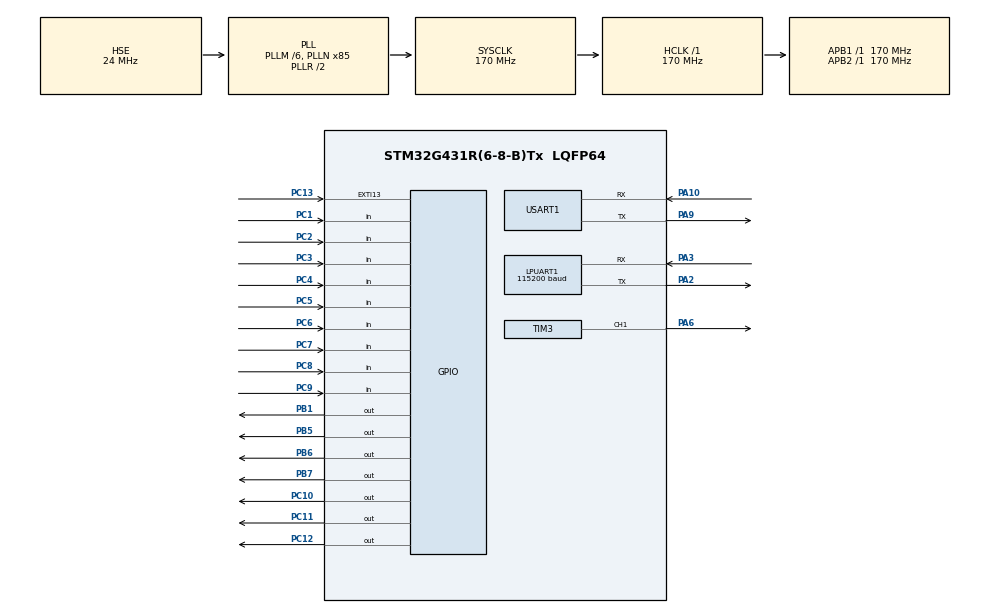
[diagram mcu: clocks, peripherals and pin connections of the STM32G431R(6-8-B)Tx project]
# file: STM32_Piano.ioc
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LPUART1.BaudRate=115200
Mcu.Family=STM32G4
Mcu.Name=STM32G431R(6-8-B)Tx
Mcu.Package=LQFP64
NVIC.EXTI15_10_IRQn=true\:1\:0\:true\:false\:true\:true\:true\:true
NVIC.LPUART1_IRQn=true\:1\:0\:true\:false\:true\:true\:true\:true
NVIC.PriorityGroup=NVIC_PRIORITYGROUP_4
NVIC.TIM3_IRQn=true\:1\:0\:true\:false\:true\:true\:true\:true
PA10.Mode=Asynchronous
PA10.Signal=USART1_RX
PA13.Mode=Serial_Wire
PA13.Signal=SYS_JTMS-SWDIO
PA14.Mode=Serial_Wire
PA14.Signal=SYS_JTCK-SWCLK
PA2.Mode=Asynchronous
PA2.Signal=LPUART1_TX
PA3.Mode=Asynchronous
PA3.Signal=LPUART1_RX
PA6.Signal=S_TIM3_CH1
PA9.Mode=Asynchronous
PA9.Signal=USART1_TX
PB1.Signal=GPIO_Output
PB5.Signal=GPIO_Output
PB6.Signal=GPIO_Output
PB7.Signal=GPIO_Output
PC1.GPIO_Mode=GPIO_MODE_INPUT
PC1.GPIO_PuPd=GPIO_PULLUP
PC1.Signal=GPIO_Input
PC10.PinState=GPIO_PIN_SET
PC10.Signal=GPIO_Output
PC11.PinState=GPIO_PIN_SET
PC11.Signal=GPIO_Output
PC12.PinState=GPIO_PIN_SET
PC12.Signal=GPIO_Output
PC13.GPIO_ModeDefaultEXTI=GPIO_MODE_IT_FALLING
PC13.Signal=GPXTI13
PC2.GPIO_Mode=GPIO_MODE_INPUT
PC2.GPIO_PuPd=GPIO_PULLUP
PC2.Signal=GPIO_Input
PC3.GPIO_Mode=GPIO_MODE_INPUT
PC3.GPIO_PuPd=GPIO_PULLUP
PC3.Signal=GPIO_Input
PC4.GPIO_Mode=GPIO_MODE_INPUT
PC4.GPIO_PuPd=GPIO_PULLUP
PC4.Signal=GPIO_Input
PC5.GPIO_Mode=GPIO_MODE_INPUT
PC5.GPIO_PuPd=GPIO_PULLUP
PC5.Signal=GPIO_Input
PC6.GPIO_Mode=GPIO_MODE_INPUT
PC6.GPIO_PuPd=GPIO_PULLUP
PC6.Signal=GPIO_Input
PC7.GPIO_Mode=GPIO_MODE_INPUT
PC7.GPIO_PuPd=GPIO_PULLUP
PC7.Signal=GPIO_Input
PC8.GPIO_Mode=GPIO_MODE_INPUT
PC8.GPIO_PuPd=GPIO_PULLUP
PC8.Signal=GPIO_Input
PC9.GPIO_PuPd=GPIO_PULLDOWN
PC9.Signal=GPIO_Input
PF0-OSC_IN.Mode=HSE-External-Oscillator
PF0-OSC_IN.Signal=RCC_OSC_IN
PF1-OSC_OUT.Mode=HSE-External-Oscillator
PF1-OSC_OUT.Signal=RCC_OSC_OUT
ProjectManager.HeapSize=0x200
ProjectManager.StackSize=0x400
ProjectManager.TargetToolchain=STM32CubeIDE
RCC.ADC12Freq_Value=170000000
RCC.AHBFreq_Value=170000000
RCC.APB1Freq_Value=170000000
RCC.APB1TimFreq_Value=170000000
RCC.APB2Freq_Value=170000000
RCC.APB2TimFreq_Value=170000000
RCC.CortexFreq_Value=170000000
RCC.EXTERNAL_CLOCK_VALUE=12288000
RCC.HCLKFreq_Value=170000000
RCC.HSE_VALUE=24000000
RCC.HSI48_VALUE=48000000
RCC.HSI_VALUE=16000000
RCC.LSE_VALUE=32768
RCC.PLLM=RCC_PLLM_DIV6
RCC.PLLN=85
RCC.PLLSourceVirtual=RCC_PLLSOURCE_HSE
RCC.SYSCLKFreq_VALUE=170000000
RCC.SYSCLKSource=RCC_SYSCLKSOURCE_PLLCLK
RCC.USBFreq_Value=170000000
RCC.VCOOutputFreq_Value=340000000
SH.S_TIM3_CH1.0=TIM3_CH1,PWM Generation1 CH1
TIM3.AutoReloadPreload=TIM_AUTORELOAD_PRELOAD_ENABLE
TIM3.Channel-PWM\ Generation1\ CH1=TIM_CHANNEL_1
TIM3.OCPolarity_1=TIM_OCPOLARITY_HIGH
TIM3.PeriodNoDither=4999
TIM3.Prescaler=1699
TIM3.PulseNoDither_1=5000
USART1.VirtualMode-Asynchronous=VM_ASYNC
VP_TIM3_VS_ClockSourceINT.Mode=Internal
board=custom

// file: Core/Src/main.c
/* USER CODE BEGIN Header */
/**
  ******************************************************************************
  * @file           : main.c
  * @brief          : Main program body
  ******************************************************************************
  * @attention
  *
  * Copyright (c) 2022 STMicroelectronics.
  * All rights reserved.
  *
  * This software is licensed under terms that can be found in the LICENSE file
  * in the root directory of this software component.
  * If no LICENSE file comes with this software, it is provided AS-IS.
  *
  ******************************************************************************
  */
/* USER CODE END Header */
#include "main.h"

UART_HandleTypeDef hlpuart1;
UART_HandleTypeDef huart1;

TIM_HandleTypeDef htim3;

/* USER CODE BEGIN PV */
const unsigned int music1[3][97] = {
        {600, 300, 300, 600, 600, 600, 300, 300, 600, 600, 600, 600, 300, 300, 600, 600, 300, 300, 900, 600, 600, 300, 300, 600, 600, 600, 300, 300, 600, 600, 600, 300, 300, 600, 600, 600, 300, 300, 600, 900, 300, 600, 600, 600, 300, 900, 900, 300, 600, 600, 600, 300, 300, 900, 900, 300, 600, 600, 600, 300, 300, 900, 900, 300, 600, 600, 600, 300, 300, 900, 600, 900, 600, 600, 900, 600, 600, 600, 600, 600, 600, 600, 900, 600, 900, 600, 600, 900, 600, 600, 600, 600, 600, 600, 300, 300, 900},
        {2,   2,   2,   2,   2,   2,   3,   2,   2,   2,   2,   2,   2,   2,   2,   1,   2,   2,   2,   2,   2,   2,   3,   2,   2,   2,   2,   2,   2,   2,   2,   2,   2,   2,   2,   2,   2,   2,   3,   3,   3,   2,   3,   2,   2,   2,   2,   2,   2,   2,   2,   2,   2,   2,   2,   2,   2,   2,   2,   2,   2,   2,   2,   2,   2,   2,   2,   2,   2,   2,   3,   3,   1,   2,   2,   1,   2,   2,   2,   2,   2,   2,   2,   3,   3,   1,   2,   2,   1,   2,   2,   2,   2,   2,   2,   2,   2},
        {1,   1,   3,   5,   5,   6,   1,   6,   5,   5,   3,   3,   5,   3,   1,   6,   1,   2,   5,   6,   6,   6,   1,   5,   3,   2,   3,   2,   1,   2,   5,   5,   4,   5,   6,   6,   7,   6,   5,   1,   1,   6,   1,   5,   6,   5,   6,   6,   5,   3,   2,   2,   3,   5,   1,   1,   1,   3,   2,   3,   2,   1,   6,   6,   5,   3,   2,   3,   2,   1,   1,   1,   0,   6,   6,   0,   5,   5,   6,   5,   2,   3,   5,   1,   1,   0,   6,   6,   0,   5,   5,   6,   5,   2,   3,   2,   1}
},
        music2[3][66] = {
        {405, 203, 0, 405, 405, 203, 405, 203, 203, 203, 203, 203, 203, 810, 608, 203, 203, 203, 203, 203, 405, 203, 405, 405, 203, 810, 203, 203, 405, 203, 405, 405, 203, 203, 810, 203, 405, 203, 405, 405, 203, 405, 203, 203, 203, 203, 203, 203, 203, 608, 405, 203, 203, 203, 608, 203, 405, 203, 405, 203, 405, 405, 405, 405, 405, 1013},
        {2,   2,   2, 2,   2,   2,   2,   2,   2,   2,   1,   1,   2,   2,   1,   1,   2,   2,   2,   2,   2,   2,   2,   2,   1,   1,   1,   2,   2,   2,   2,   1,   2,   2,   2,   1,   2,   2,   2,   2,   2,   2,   2,   2,   2,   2,   1,   1,   2,   2,   1,   2,   2,   2,   2,   1,   2,   2,   2,   1,   2,   2,   2,   2,   2,   2},
        {3,   3,   2, 5,   2,   2,   2,   2,   3,   2,   7,   7,   1,   1,   0,   7,   3,   5,   5,   7,   6,   5,   3,   1,   7,   7,   0,   2,   2,   3,   1,   7,   2,   2,   2,   0,   3,   3,   2,   5,   2,   2,   2,   2,   3,   2,   7,   7,   1,   1,   0,   7,   7,   3,   3,   0,   4,   3,   4,   0,   7,   6,   5,   4,   3,   4}
},
        music3[3][86] = {
        {215, 215, 215, 215, 215, 215, 215, 215, 215, 215, 215, 215, 215, 215, 215, 215, 215, 215, 215, 215, 215, 215, 215, 215, 215, 215, 215, 215, 215, 215, 215, 215, 215, 215, 215, 215, 215, 215, 215, 215, 215, 215, 215, 215, 215, 215, 215, 215, 215, 215, 215, 429, 215, 215, 644, 644, 429, 215, 215, 429, 215, 215, 644, 644, 429, 215, 215, 429, 215, 215, 644, 1073, 644, 644, 644, 644, 644, 644, 644, 644, 644, 644, 644, 644, 644, 644},
        {2,   2,   2,   2,   2,   2,   2,   2,   2,   2,   2,   2,   2,   2,   2,   2,   2,   2,   2,   2,   2,   2,   2,   2,   2,   2,   2,   2,   2,   2,   2,   2,   2,   2,   2,   2,   2,   2,   2,   2,   2,   2,   3,   3,   2,   2,   2,   2,   2,   2,   2,   2,   2,   2,   2,   2,   1,   2,   2,   2,   2,   2,   2,   2,   1,   2,   2,   2,   2,   2,   2,   2,    2,   2,   2,   2,   2,   2,   2,   2,   2,   2,   2,   2,   2,   2},
        {1,   4,   5,   5,   6,   6,   6,   6,   6,   6,   6,   6,   5,   5,   5,   5,   5,   5,   5,   5,   4,   4,   4,   4,   4,   4,   4,   4,   1,   1,   1,   1,   1,   4,   5,   5,   6,   6,   6,   6,   6,   6,   1,   1,   6,   6,   6,   6,   6,   5,   4,   5,   6,   6,   6,   6,   0,   5,   6,   5,   4,   4,   4,   4,   0,   5,   6,   5,   4,   4,   4,   4,    6,   6,   6,   6,   5,   1,   6,   6,   5,   5,   6,   6,   6,   6}
},
        pwm_freq[3][7] = {
        {131, 147, 165, 175, 196, 220, 247},
        {262, 294, 330, 349, 392, 440, 494},
        {523, 587, 659, 698, 784, 880, 988}
};
const unsigned char midi_freq[3][7] = {
        {48, 50, 52, 53, 55, 57, 59},
        {60, 62, 64, 65, 67, 69, 71},
        {72, 74, 76, 77, 79, 81, 83}
},
        length[3] = {97, 66, 86},
        tube_data[5] = {0xc0, 0xf9, 0xa4, 0xb0, 0x99};

const unsigned int *music[3][3] = {
        {music1[0], music1[1], music1[2]},
        {music2[0], music2[1], music2[2]},
        {music3[0], music3[1], music3[2]}
};

unsigned char midi_event[3] = {0x90, 60, 0x4f},
        buffer1, buffer2[2];
unsigned int pitch = 0, tone = 0, mode = 0, remote_mode = 0, music_type = 0, music_position = 0, music_start = 0, receive = 0;
unsigned int duration = 0;

/* USER CODE END PV */

void SystemClock_Config(void);
static void MX_GPIO_Init(void);
static void MX_LPUART1_UART_Init(void);
static void MX_TIM3_Init(void);
static void MX_USART1_UART_Init(void);
/* USER CODE BEGIN PFP */

void direct_play();

void direct_broadcast();

void remoteControl();

void change_LED();

void play_pwm();

void play_midi() ;

void choose_music(int n);

void broadcast_music();

/* USER CODE END PFP */

int main(void)
{

  /* MCU Configuration--------------------------------------------------------*/

  /* Reset of all peripherals, Initializes the Flash interface and the Systick. */
  HAL_Init();

  /* Configure the system clock */
  SystemClock_Config();

  /* Initialize all configured peripherals */
  MX_GPIO_Init();
  MX_LPUART1_UART_Init();
  MX_TIM3_Init();
  MX_USART1_UART_Init();
  /* USER CODE BEGIN 2 */
    HAL_TIM_Base_Start_IT(&htim3);//打开定时中断
  /* USER CODE END 2 */

  /* Infinite loop */
    while (1) {

    /* USER CODE BEGIN 3 */

        //弹奏
        if (mode == 1 || mode == 2) {
            direct_play();
        }

        //播放
        if (mode == 3 || mode == 4) {
            direct_broadcast();
        }

        //远程控制
        if (mode == 5) {
            remoteControl();
        }

    }
  /* USER CODE END 3 */
}

void SystemClock_Config(void)
{
  RCC_OscInitTypeDef RCC_OscInitStruct = {0};
  RCC_ClkInitTypeDef RCC_ClkInitStruct = {0};

  /** Configure the main internal regulator output voltage
  */
  HAL_PWREx_ControlVoltageScaling(PWR_REGULATOR_VOLTAGE_SCALE1_BOOST);

  /** Initializes the RCC Oscillators according to the specified parameters
  * in the RCC_OscInitTypeDef structure.
  */
  RCC_OscInitStruct.OscillatorType = RCC_OSCILLATORTYPE_HSE;
  RCC_OscInitStruct.HSEState = RCC_HSE_ON;
  RCC_OscInitStruct.PLL.PLLState = RCC_PLL_ON;
  RCC_OscInitStruct.PLL.PLLSource = RCC_PLLSOURCE_HSE;
  RCC_OscInitStruct.PLL.PLLM = RCC_PLLM_DIV6;
  RCC_OscInitStruct.PLL.PLLN = 85;
  RCC_OscInitStruct.PLL.PLLP = RCC_PLLP_DIV2;
  RCC_OscInitStruct.PLL.PLLQ = RCC_PLLQ_DIV2;
  RCC_OscInitStruct.PLL.PLLR = RCC_PLLR_DIV2;
  if (HAL_RCC_OscConfig(&RCC_OscInitStruct) != HAL_OK)
  {
    Error_Handler();
  }

  /** Initializes the CPU, AHB and APB buses clocks
  */
  RCC_ClkInitStruct.ClockType = RCC_CLOCKTYPE_HCLK|RCC_CLOCKTYPE_SYSCLK
                              |RCC_CLOCKTYPE_PCLK1|RCC_CLOCKTYPE_PCLK2;
  RCC_ClkInitStruct.SYSCLKSource = RCC_SYSCLKSOURCE_PLLCLK;
  RCC_ClkInitStruct.AHBCLKDivider = RCC_SYSCLK_DIV1;
  RCC_ClkInitStruct.APB1CLKDivider = RCC_HCLK_DIV1;
  RCC_ClkInitStruct.APB2CLKDivider = RCC_HCLK_DIV1;

  if (HAL_RCC_ClockConfig(&RCC_ClkInitStruct, FLASH_LATENCY_4) != HAL_OK)
  {
    Error_Handler();
  }
}

static void MX_LPUART1_UART_Init(void)
{

  hlpuart1.Instance = LPUART1;
  hlpuart1.Init.BaudRate = 115200;
  hlpuart1.Init.WordLength = UART_WORDLENGTH_8B;
  hlpuart1.Init.StopBits = UART_STOPBITS_1;
  hlpuart1.Init.Parity = UART_PARITY_NONE;
  hlpuart1.Init.Mode = UART_MODE_TX_RX;
  hlpuart1.Init.HwFlowCtl = UART_HWCONTROL_NONE;
  hlpuart1.Init.OneBitSampling = UART_ONE_BIT_SAMPLE_DISABLE;
  hlpuart1.Init.ClockPrescaler = UART_PRESCALER_DIV1;
  hlpuart1.AdvancedInit.AdvFeatureInit = UART_ADVFEATURE_NO_INIT;
  if (HAL_UART_Init(&hlpuart1) != HAL_OK)
  {
    Error_Handler();
  }
  if (HAL_UARTEx_SetTxFifoThreshold(&hlpuart1, UART_TXFIFO_THRESHOLD_1_8) != HAL_OK)
  {
    Error_Handler();
  }
  if (HAL_UARTEx_SetRxFifoThreshold(&hlpuart1, UART_RXFIFO_THRESHOLD_1_8) != HAL_OK)
  {
    Error_Handler();
  }
  if (HAL_UARTEx_DisableFifoMode(&hlpuart1) != HAL_OK)
  {
    Error_Handler();
  }

}

static void MX_USART1_UART_Init(void)
{

  huart1.Instance = USART1;
  huart1.Init.BaudRate = 115200;
  huart1.Init.WordLength = UART_WORDLENGTH_8B;
  huart1.Init.StopBits = UART_STOPBITS_1;
  huart1.Init.Parity = UART_PARITY_NONE;
  huart1.Init.Mode = UART_MODE_TX_RX;
  huart1.Init.HwFlowCtl = UART_HWCONTROL_NONE;
  huart1.Init.OverSampling = UART_OVERSAMPLING_16;
  huart1.Init.OneBitSampling = UART_ONE_BIT_SAMPLE_DISABLE;
  huart1.Init.ClockPrescaler = UART_PRESCALER_DIV1;
  huart1.AdvancedInit.AdvFeatureInit = UART_ADVFEATURE_NO_INIT;
  if (HAL_UART_Init(&huart1) != HAL_OK)
  {
    Error_Handler();
  }
  if (HAL_UARTEx_SetTxFifoThreshold(&huart1, UART_TXFIFO_THRESHOLD_1_8) != HAL_OK)
  {
    Error_Handler();
  }
  if (HAL_UARTEx_SetRxFifoThreshold(&huart1, UART_RXFIFO_THRESHOLD_1_8) != HAL_OK)
  {
    Error_Handler();
  }
  if (HAL_UARTEx_DisableFifoMode(&huart1) != HAL_OK)
  {
    Error_Handler();
  }

}

static void MX_TIM3_Init(void)
{

  TIM_ClockConfigTypeDef sClockSourceConfig = {0};
  TIM_MasterConfigTypeDef sMasterConfig = {0};
  TIM_OC_InitTypeDef sConfigOC = {0};

  htim3.Instance = TIM3;
  htim3.Init.Prescaler = 1699;
  htim3.Init.CounterMode = TIM_COUNTERMODE_UP;
  htim3.Init.Period = 4999;
  htim3.Init.ClockDivision = TIM_CLOCKDIVISION_DIV1;
  htim3.Init.AutoReloadPreload = TIM_AUTORELOAD_PRELOAD_ENABLE;
  if (HAL_TIM_Base_Init(&htim3) != HAL_OK)
  {
    Error_Handler();
  }
  sClockSourceConfig.ClockSource = TIM_CLOCKSOURCE_INTERNAL;
  if (HAL_TIM_ConfigClockSource(&htim3, &sClockSourceConfig) != HAL_OK)
  {
    Error_Handler();
  }
  if (HAL_TIM_PWM_Init(&htim3) != HAL_OK)
  {
    Error_Handler();
  }
  sMasterConfig.MasterOutputTrigger = TIM_TRGO_RESET;
  sMasterConfig.MasterSlaveMode = TIM_MASTERSLAVEMODE_DISABLE;
  if (HAL_TIMEx_MasterConfigSynchronization(&htim3, &sMasterConfig) != HAL_OK)
  {
    Error_Handler();
  }
  sConfigOC.OCMode = TIM_OCMODE_PWM1;
  sConfigOC.Pulse = 5000;
  sConfigOC.OCPolarity = TIM_OCPOLARITY_HIGH;
  sConfigOC.OCFastMode = TIM_OCFAST_DISABLE;
  if (HAL_TIM_PWM_ConfigChannel(&htim3, &sConfigOC, TIM_CHANNEL_1) != HAL_OK)
  {
    Error_Handler();
  }
  HAL_TIM_MspPostInit(&htim3);

}

static void MX_GPIO_Init(void)
{
  GPIO_InitTypeDef GPIO_InitStruct = {0};

  /* GPIO Ports Clock Enable */
  __HAL_RCC_GPIOC_CLK_ENABLE();
  __HAL_RCC_GPIOF_CLK_ENABLE();
  __HAL_RCC_GPIOA_CLK_ENABLE();
  __HAL_RCC_GPIOB_CLK_ENABLE();

  /*Configure GPIO pin Output Level */
  HAL_GPIO_WritePin(GPIOB, GPIO_PIN_1|GPIO_PIN_5|GPIO_PIN_6|GPIO_PIN_7, GPIO_PIN_RESET);

  /*Configure GPIO pin Output Level */
  HAL_GPIO_WritePin(GPIOC, GPIO_PIN_10|GPIO_PIN_11|GPIO_PIN_12, GPIO_PIN_SET);

  /*Configure GPIO pin : PC13 */
  GPIO_InitStruct.Pin = GPIO_PIN_13;
  GPIO_InitStruct.Mode = GPIO_MODE_IT_FALLING;
  GPIO_InitStruct.Pull = GPIO_NOPULL;
  HAL_GPIO_Init(GPIOC, &GPIO_InitStruct);

  /*Configure GPIO pins : PC1 PC2 PC3 PC4
                           PC5 PC6 PC7 PC8 */
  GPIO_InitStruct.Pin = GPIO_PIN_1|GPIO_PIN_2|GPIO_PIN_3|GPIO_PIN_4
                          |GPIO_PIN_5|GPIO_PIN_6|GPIO_PIN_7|GPIO_PIN_8;
  GPIO_InitStruct.Mode = GPIO_MODE_INPUT;
  GPIO_InitStruct.Pull = GPIO_PULLUP;
  HAL_GPIO_Init(GPIOC, &GPIO_InitStruct);

  /*Configure GPIO pins : PB1 PB5 PB6 PB7 */
  GPIO_InitStruct.Pin = GPIO_PIN_1|GPIO_PIN_5|GPIO_PIN_6|GPIO_PIN_7;
  GPIO_InitStruct.Mode = GPIO_MODE_OUTPUT_PP;
  GPIO_InitStruct.Pull = GPIO_NOPULL;
  GPIO_InitStruct.Speed = GPIO_SPEED_FREQ_LOW;
  HAL_GPIO_Init(GPIOB, &GPIO_InitStruct);

  /*Configure GPIO pin : PC9 */
  GPIO_InitStruct.Pin = GPIO_PIN_9;
  GPIO_InitStruct.Mode = GPIO_MODE_INPUT;
  GPIO_InitStruct.Pull = GPIO_PULLDOWN;
  HAL_GPIO_Init(GPIOC, &GPIO_InitStruct);

  /*Configure GPIO pins : PC10 PC11 PC12 */
  GPIO_InitStruct.Pin = GPIO_PIN_10|GPIO_PIN_11|GPIO_PIN_12;
  GPIO_InitStruct.Mode = GPIO_MODE_OUTPUT_PP;
  GPIO_InitStruct.Pull = GPIO_NOPULL;
  GPIO_InitStruct.Speed = GPIO_SPEED_FREQ_LOW;
  HAL_GPIO_Init(GPIOC, &GPIO_InitStruct);

  /* EXTI interrupt init*/
  HAL_NVIC_SetPriority(EXTI15_10_IRQn, 1, 0);
  HAL_NVIC_EnableIRQ(EXTI15_10_IRQn);

}

/* USER CODE BEGIN 4 */
void HAL_GPIO_EXTI_Callback(uint16_t GPIO_PIN) {//按钮的回调函数

    if (GPIO_PIN == GPIO_PIN_13) {//按下蓝色按钮
        if (mode == 5) {
            mode = 0;
        } else {
            mode++;
        }
        change_LED();
    }

}

void HAL_UART_RxCpltCallback(UART_HandleTypeDef *huart) {

    if (mode == 5 && (remote_mode == '3' || remote_mode == '4')) {
        receive = 1;
    }

}

void change_data(char data) {//改变数码管显示

    for (unsigned char i = 0; i < 8; i++)//控制8个数码管
    {
        if ((data & GPIO_PIN_7) == 0)//根据data的最高位，使与DS连接的引脚输出相应电平
        {
            HAL_GPIO_WritePin(GPIOB, GPIO_PIN_5, GPIO_PIN_RESET);
        } else {
            HAL_GPIO_WritePin(GPIOB, GPIO_PIN_5, GPIO_PIN_SET);
        }

        HAL_GPIO_WritePin(GPIOB, GPIO_PIN_6, GPIO_PIN_SET);    //在与SHCP连接的引脚上输出上升沿信号
        HAL_GPIO_WritePin(GPIOB, GPIO_PIN_6, GPIO_PIN_RESET);

        data <<= 1;
    }

    HAL_GPIO_WritePin(GPIOB, GPIO_PIN_7, GPIO_PIN_SET);  //在与STCP连接的引脚上输出信号
    HAL_GPIO_WritePin(GPIOB, GPIO_PIN_7, GPIO_PIN_RESET);

}

void change_LED() {//改变LED显示
    //全部熄灭
    HAL_GPIO_WritePin(GPIOC, GPIO_PIN_10, GPIO_PIN_SET);
    HAL_GPIO_WritePin(GPIOC, GPIO_PIN_11, GPIO_PIN_SET);
    HAL_GPIO_WritePin(GPIOC, GPIO_PIN_12, GPIO_PIN_SET);

    //根据状态点亮LED
    if (mode == 1) {
        HAL_GPIO_WritePin(GPIOC, GPIO_PIN_10, GPIO_PIN_RESET);
    } else if (mode == 2) {
        HAL_GPIO_WritePin(GPIOC, GPIO_PIN_11, GPIO_PIN_RESET);
    } else if (mode == 3) {
        HAL_GPIO_WritePin(GPIOC, GPIO_PIN_10, GPIO_PIN_RESET);
        HAL_GPIO_WritePin(GPIOC, GPIO_PIN_12, GPIO_PIN_RESET);
    } else if (mode == 4) {
        HAL_GPIO_WritePin(GPIOC, GPIO_PIN_11, GPIO_PIN_RESET);
        HAL_GPIO_WritePin(GPIOC, GPIO_PIN_12, GPIO_PIN_RESET);
    } else if (mode == 5) {
        HAL_GPIO_WritePin(GPIOC, GPIO_PIN_12, GPIO_PIN_RESET);
    }

}

void direct_play() {//在扩展板上弹奏

    while (mode == 1 || mode == 2) {

        if (!HAL_GPIO_ReadPin(GPIOC, GPIO_PIN_8)) {//查询音高
            pitch = 0;
        } else if (HAL_GPIO_ReadPin(GPIOC, GPIO_PIN_9)) {//注意这个按钮是按下为高电平
            pitch = 2;
        } else {
            pitch = 1;
        }

        if (!HAL_GPIO_ReadPin(GPIOC, GPIO_PIN_1)) {//查询音调
            tone = 0;
        } else if (!HAL_GPIO_ReadPin(GPIOC, GPIO_PIN_2)) {
            tone = 1;
        } else if (!HAL_GPIO_ReadPin(GPIOC, GPIO_PIN_3)) {
            tone = 2;
        } else if (!HAL_GPIO_ReadPin(GPIOC, GPIO_PIN_4)) {
            tone = 3;
        } else if (!HAL_GPIO_ReadPin(GPIOC, GPIO_PIN_5)) {
            tone = 4;
        } else if (!HAL_GPIO_ReadPin(GPIOC, GPIO_PIN_6)) {
            tone = 5;
        } else if (!HAL_GPIO_ReadPin(GPIOC, GPIO_PIN_7)) {
            tone = 6;
        } else {
            return;
        }

        if (mode == 1) {//pwm输出
            duration = 100;
            play_pwm();
        } else if (mode == 2) {//midi输出
            duration = 200;//延时长一点，避免连续播放时出现杂音
            play_midi();
        }
    }

}

void play_pwm() {//利用蜂鸣器发声

    if (pitch == -1 && tone == -1) {//休止符
        HAL_Delay(duration);
    } else if (pitch >= 0 && pitch < 3 && tone >= 0 && tone < 7) {//改变时钟的ARR，CCR1，输出频率给蜂鸣器
        TIM3->ARR = 100000 / pwm_freq[pitch][tone] - 1;
        TIM3->CCR1 = TIM3->ARR * 0.95;
        HAL_TIM_PWM_Start(&htim3, TIM_CHANNEL_1);
        HAL_Delay(duration);
        HAL_TIM_PWM_Stop(&htim3, TIM_CHANNEL_1);
    }
}

void play_midi() {//利用autopiano发声

    if (pitch == -1 && tone == -1) {
        HAL_Delay(duration);
    }
    if (pitch >= 0 && pitch < 3 && tone >= 0 && tone < 7) {
        midi_event[1] = midi_freq[pitch][tone];
        //按下琴键
        midi_event[0] = 0x90;
        HAL_UART_Transmit(&huart1, midi_event, 3, 0xffff);
        //延时
        HAL_Delay(duration);
        //释放琴键
        midi_event[0] = 0x80;
        HAL_UART_Transmit(&huart1, midi_event, 3, 0xffff);
    }

}

void direct_broadcast() {//在扩展板上控制播放

    //显示音乐信息
    change_data(tube_data[0]);
    HAL_GPIO_WritePin(GPIOB, GPIO_PIN_1, GPIO_PIN_SET);

    //初始化播放信息
    music_type = -1;
    music_position = 0;
    music_start = 0;

    while (mode == 3 || mode == 4) {

        if (!HAL_GPIO_ReadPin(GPIOC, GPIO_PIN_1)) {//查询操作
            choose_music(1);
            change_data(tube_data[1]);
        } else if (!HAL_GPIO_ReadPin(GPIOC, GPIO_PIN_2)) {
            choose_music(2);
            change_data(tube_data[2]);
        } else if (!HAL_GPIO_ReadPin(GPIOC, GPIO_PIN_3)) {
            choose_music(3);
            change_data(tube_data[3]);
        } else if (!HAL_GPIO_ReadPin(GPIOC, GPIO_PIN_4)) {//暂停
            music_start = 0;
            change_data(tube_data[4]);
        } else if (!HAL_GPIO_ReadPin(GPIOC, GPIO_PIN_5)) { //继续
            music_start = 1;
            change_data(tube_data[music_type + 1]);
        }

        broadcast_music();

    }

    HAL_GPIO_WritePin(GPIOB, GPIO_PIN_1, GPIO_PIN_RESET);

}

void broadcast_music() {
    if (music_start) {
        duration = music[music_type][0][music_position];
        pitch = music[music_type][1][music_position] - 1;
        tone = music[music_type][2][music_position] - 1;

        if (mode == 3) {//pwm输出
            play_pwm();
        } else if (mode == 4) {//midi输出
            play_midi();
        } else if (mode == 5) {
            if (remote_mode == '3') {//pwm输出
                play_pwm();
            } else if (remote_mode == '4') {//midi输出
                play_midi();
            }
        }

        music_position += 1;//播放下一个音符

        if (music_position == length[music_type]) {//播放结束，重置
            music_position = 0;
            music_start = 0;
            change_data(tube_data[0]);
        }
    }
}

void choose_music(int n) {
    music_type = n - 1;
    music_position = 0;
    music_start = 1;
}

void remoteControl() {

    while (mode == 5) {

        HAL_UART_Transmit(&hlpuart1, "Please choose mode:\r\n", 22, 0xffff);
        remote_mode = '\0';

        HAL_UART_Receive_IT(&hlpuart1, &remote_mode, 1);

        while (mode == 5 && remote_mode == '\0');//查询是否已选择远程模式

        if (remote_mode == '0') {//退出远程控制模式
            mode = 0;
            change_LED();
        } else if (remote_mode == '1' || remote_mode == '2') {//进入远程弹奏模式

            if (remote_mode == '1') {
                HAL_UART_Transmit(&hlpuart1, "Enter play-pwm mode\r\n", 22, 0xffff);
            } else {
                HAL_UART_Transmit(&hlpuart1, "Enter play-midi mode\r\n", 23, 0xffff);
            }

            while (mode == 5) {

                HAL_UART_Receive(&hlpuart1, buffer2, 2, 0xffff);//接收字符
                HAL_UART_Transmit(&hlpuart1, buffer2, 2, 0xffff);//显示刚才的输入
                HAL_UART_Transmit(&hlpuart1, "\r\n", 2, 0xffff);//换行

                if (buffer2[0] == '0' && buffer2[1] == '0') {//退出弹奏模式
                    break;
                } else {
                    pitch = buffer2[0] - '1';
                    tone = buffer2[1] - '1';
                }

                if (remote_mode == '1') {//蜂鸣器发声
                    duration = 100;
                    play_pwm();
                } else if (remote_mode == '2') {//自由钢琴发声
                    duration = 200;
                    play_midi();
                }
            }
        } else if (remote_mode == '3' || remote_mode == '4') {//进入远程播放模式

            if (remote_mode == '3') {
                HAL_UART_Transmit(&hlpuart1, "Enter broadcast-pwm mode\r\n", 27, 0xffff);
            } else {
                HAL_UART_Transmit(&hlpuart1, "Enter broadcast-midi mode\r\n", 28, 0xffff);
            }

            //显示音乐信息
            change_data(tube_data[0]);
            HAL_GPIO_WritePin(GPIOB, GPIO_PIN_1, GPIO_PIN_SET);

            //初始化播放信息
            music_type = -1;
            music_position = 0;
            music_start = 0;
            receive = 0;

            while (mode == 5) {

                HAL_UART_Receive_IT(&hlpuart1, &buffer1, 1);//中断型串口通信，避免堵塞音乐播放

                if (receive) {//接收到指令
                    if (buffer1 == '0') {//退出播放模式
                        HAL_UART_AbortReceive_IT(&hlpuart1);//停止当前的串口通信中断，防止在退出播放模式之后还接收到指令
                        break;
                    }
                    if (buffer1 >= '1' && buffer1 <= '3') {//选择歌曲
                        choose_music(buffer1 - '0');
                        change_data(tube_data[music_type + 1]);
                    } else if (buffer1 == '4') {//暂停
                        music_start = 0;
                        change_data(tube_data[4]);
                    } else if (buffer1 == '5') { //继续
                        music_start = 1;
                        change_data(tube_data[music_type + 1]);
                    }

                    receive = 0;//重置，等待下一条指令
                }

                broadcast_music();

            }

            HAL_UART_AbortReceive_IT(&hlpuart1);//停止当前的串口通信中断
            HAL_GPIO_WritePin(GPIOB, GPIO_PIN_1, GPIO_PIN_RESET);
        }

    }

}

/* USER CODE END 4 */

void Error_Handler(void)
{
    __disable_irq();
    while (1) {
    }
}
